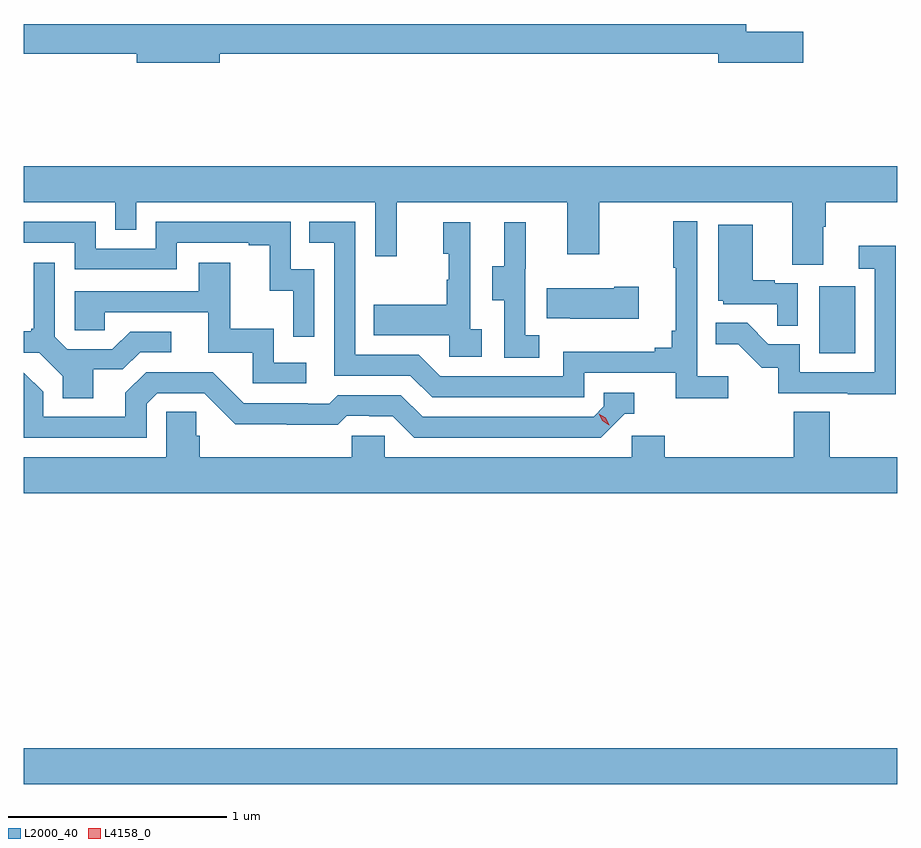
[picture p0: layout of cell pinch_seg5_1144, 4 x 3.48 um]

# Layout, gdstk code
import gdstk
lib = gdstk.Library(unit=1e-6, precision=1e-09)
def R(c, l, rs):  # rectangles x0, y0, x1, y1
    for r in rs: c.add(gdstk.rectangle(r[:2], r[2:], *l))
def P(c, l, *ps):  # polygons
    for p in ps: c.add(gdstk.Polygon(p, *l))
L2000_40 = (2000, 40)
L4158_0 = (4158, 0)

pinch_seg5_1144 = lib.new_cell('pinch_seg5_1144')
R(pinch_seg5_1144, L2000_40, [(864.793,835.448,868.793,835.612), (868.436,837.42,868.6,837.727)])
P(pinch_seg5_1144, L2000_40, [(865.69,838.792),(867.974,838.792),(867.974,838.75),(868.363,838.75),(868.363,838.892),(868.102,838.892),(868.102,838.928),(864.793,838.928),(864.793,838.792),(865.31,838.792),(865.31,838.75),(865.69,838.75)],
  [(868.453,838),(868.466,838),(868.466,838.112),(868.793,838.112),(868.793,838.276),(864.793,838.276),(864.793,838.112),(865.212,838.112),(865.212,837.985),(865.308,837.985),(865.308,838.112),(866.403,838.112),(866.403,837.864),(866.501,837.864),(866.501,838.112),(867.281,838.112),(867.281,837.873),(867.429,837.873),(867.429,838.112),(868.313,838.112),(868.313,837.826),(868.453,837.826)],
  [(868.018,837.316),(867.876,837.316),(867.876,838.024),(867.768,838.024),(867.768,837.811),(867.779,837.811),(867.779,837.523),(867.76,837.523),(867.76,837.446),(867.683,837.446),(867.683,837.427),(867.264,837.427),(867.264,837.315),(866.7,837.315),(866.601,837.414),(866.31,837.414),(866.31,838.023),(866.101,838.023),(866.101,837.927),(866.214,837.927),(866.214,837.318),(866.564,837.318),(866.663,837.219),(867.36,837.219),(867.36,837.33),(867.779,837.33),(867.779,837.214),(868.018,837.214)],
  [(866.124,837.804),(866.016,837.804),(866.016,838.023),(865.398,838.023),(865.398,837.9),(865.122,837.9),(865.122,838.023),(864.793,838.023),(864.793,837.927),(865.026,837.927),(865.026,837.804),(865.494,837.804),(865.494,837.927),(865.823,837.927),(865.823,837.915),(865.919,837.915),(865.919,837.707),(866.028,837.707),(866.028,837.495),(866.124,837.495)],
  [(867.154,837.503),(867.09,837.503),(867.09,837.807),(867.092,837.807),(867.092,838.021),(866.993,838.021),(866.993,837.819),(866.939,837.819),(866.939,837.664),(866.994,837.664),(866.994,837.4),(867.154,837.4)],
  [(866.89,837.53),(866.838,837.53),(866.838,838.021),(866.714,838.021),(866.714,837.876),(866.74,837.876),(866.74,837.758),(866.73,837.758),(866.73,837.643),(866.395,837.643),(866.395,837.503),(866.742,837.503),(866.742,837.405),(866.89,837.405)],
  [(868.338,837.741),(868.232,837.741),(868.232,837.754),(868.132,837.754),(868.132,838.009),(867.974,838.009),(867.974,837.66),(867.996,837.66),(867.996,837.645),(868.243,837.645),(868.243,837.547),(868.338,837.547)],
  [(868.785,837.913),(868.617,837.913),(868.617,837.807),(868.689,837.807),(868.689,837.333),(868.347,837.333),(868.347,837.462),(868.203,837.462),(868.105,837.56),(867.961,837.56),(867.961,837.461),(868.065,837.461),(868.172,837.354),(868.249,837.354),(868.249,837.237),(868.567,837.237),(868.567,837.232),(868.785,837.232)],
  [(866.086,837.378),(865.938,837.378),(865.938,837.532),(865.739,837.532),(865.739,837.835),(865.595,837.835),(865.595,837.705),(865.026,837.705),(865.026,837.525),(865.163,837.525),(865.163,837.609),(865.637,837.609),(865.637,837.423),(865.842,837.423),(865.842,837.282),(866.086,837.282)],
  [(865.111,837.346),(865.246,837.346),(865.326,837.426),(865.468,837.426),(865.468,837.519),(865.28,837.519),(865.199,837.438),(864.993,837.438),(864.936,837.495),(864.936,837.835),(864.839,837.835),(864.839,837.532),(864.828,837.532),(864.828,837.52),(864.793,837.52),(864.793,837.423),(864.864,837.423),(864.971,837.316),(864.971,837.214),(865.111,837.214)],
  [(867.61,837.726),(867.497,837.726),(867.497,837.718),(867.187,837.718),(867.187,837.581),(867.295,837.581),(867.295,837.578),(867.61,837.578)],
  [(865.356,837.189),(865.404,837.237),(865.62,837.237),(865.762,837.095),(865.998,837.095),(865.998,837.093),(866.231,837.093),(866.273,837.135),(866.376,837.135),(866.376,837.132),(866.483,837.132),(866.582,837.033),(867.435,837.033),(867.546,837.144),(867.589,837.144),(867.589,837.24),(867.45,837.24),(867.45,837.177),(867.402,837.129),(866.619,837.129),(866.52,837.228),(866.231,837.228),(866.192,837.189),(866.093,837.189),(866.093,837.192),(865.8,837.192),(865.659,837.333),(865.353,837.333),(865.259,837.239),(865.259,837.129),(864.882,837.129),(864.882,837.243),(864.793,837.332),(864.793,837.033),(865.356,837.033)],
  [(868.793,836.944),(868.484,836.944),(868.484,837.152),(868.319,837.152),(868.319,836.944),(867.728,836.944),(867.728,837.042),(867.576,837.042),(867.576,836.944),(866.445,836.944),(866.445,837.042),(866.295,837.042),(866.295,836.944),(865.598,836.944),(865.598,837.042),(865.583,837.042),(865.583,837.152),(865.446,837.152),(865.446,836.944),(864.793,836.944),(864.793,836.78),(868.793,836.78)])
P(pinch_seg5_1144, L4158_0, [(867.473,837.091),(867.443,837.111),(867.427,837.144),(867.427,837.144),(867.427,837.144),(867.458,837.124),(867.473,837.091),(867.473,837.091)])

lib.write_gds('pinch_seg5_1144.gds')
